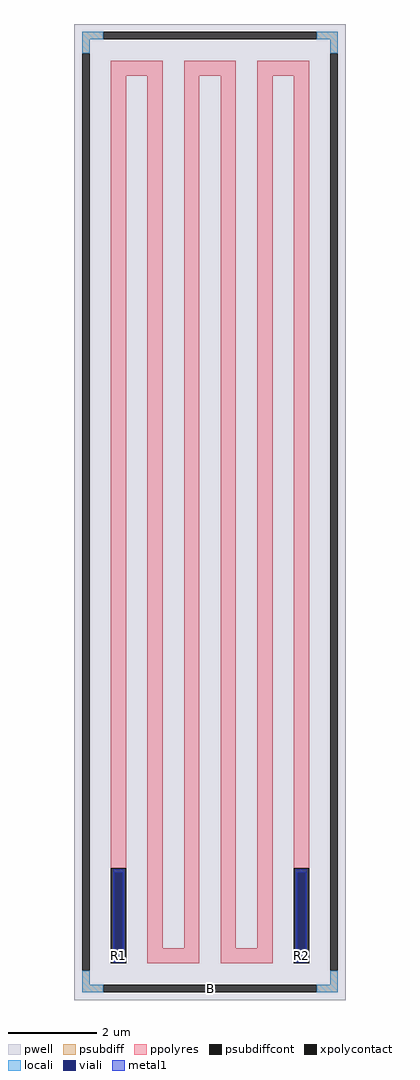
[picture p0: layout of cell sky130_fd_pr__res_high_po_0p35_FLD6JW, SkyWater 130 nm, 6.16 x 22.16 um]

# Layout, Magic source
magic
tech sky130A
magscale 1 2
<< pwell >>
rect -616 -2216 616 2216
<< psubdiff >>
rect -580 2146 -484 2180
rect 484 2146 580 2180
rect -580 2084 -546 2146
rect 546 2084 580 2146
rect -580 -2146 -546 -2084
rect 546 -2146 580 -2084
rect -580 -2180 -484 -2146
rect 484 -2180 580 -2146
<< psubdiffcont >>
rect -484 2146 484 2180
rect -580 -2084 -546 2084
rect 546 -2084 580 2084
rect -484 -2180 484 -2146
<< xpolycontact >>
rect -450 -2050 -380 -1618
rect 380 -2050 450 -1618
<< ppolyres >>
rect -450 1980 -214 2050
rect -450 -1618 -380 1980
rect -284 -1980 -214 1980
rect -118 1980 118 2050
rect -118 -1980 -48 1980
rect -284 -2050 -48 -1980
rect 48 -1980 118 1980
rect 214 1980 450 2050
rect 214 -1980 284 1980
rect 48 -2050 284 -1980
rect 380 -1618 450 1980
<< locali >>
rect -580 2146 -484 2180
rect 484 2146 580 2180
rect -580 2084 -546 2146
rect 546 2084 580 2146
rect -580 -2146 -546 -2084
rect 546 -2146 580 -2084
rect -580 -2180 -484 -2146
rect 484 -2180 580 -2146
<< viali >>
rect -434 -2032 -396 -1635
rect 396 -2032 434 -1635
<< metal1 >>
rect -440 -1635 -390 -1623
rect -440 -2032 -434 -1635
rect -396 -2032 -390 -1635
rect -440 -2044 -390 -2032
rect 390 -1635 440 -1623
rect 390 -2032 396 -1635
rect 434 -2032 440 -1635
rect 390 -2044 440 -2032
<< labels >>
rlabel psubdiffcont 0 -2163 0 -2163 0 B
port 1 nsew
rlabel xpolycontact -415 -2015 -415 -2015 0 R1
port 2 nsew
rlabel xpolycontact 415 -2015 415 -2015 0 R2
port 3 nsew
<< properties >>
string FIXED_BBOX -563 -2163 563 2163
string gencell sky130_fd_pr__res_high_po_0p35
string library sky130
string parameters w 0.35 l 20.5 m 1 nx 6 wmin 0.350 lmin 0.50 class resistor rho 319.8 val 115.099k dummy 0 dw 0.0 term 194.82 sterm 0.0 caplen 0 guard 1 glc 1 grc 1 gtc 1 gbc 1 compatible {sky130_fd_pr__res_high_po_0p35  sky130_fd_pr__res_high_po_0p69 sky130_fd_pr__res_high_po_1p41  sky130_fd_pr__res_high_po_2p85 sky130_fd_pr__res_high_po_5p73} snake 1 full_metal 1 wmax 0.350 vias 1 n_guard 0 hv_guard 0 viagb 0 viagt 0 viagl 0 viagr 0 doports 1
<< end >>
